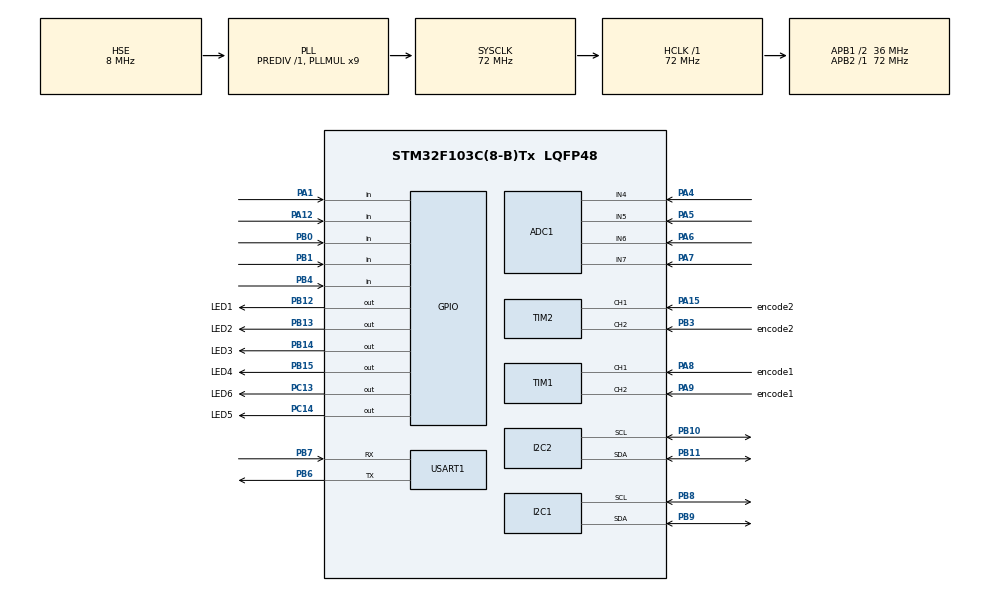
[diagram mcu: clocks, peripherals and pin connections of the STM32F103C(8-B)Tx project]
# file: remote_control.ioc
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ADC1.Channel-4\#ChannelRegularConversion=ADC_CHANNEL_7
ADC1.Channel-5\#ChannelRegularConversion=ADC_CHANNEL_6
ADC1.Channel-6\#ChannelRegularConversion=ADC_CHANNEL_5
ADC1.Channel-7\#ChannelRegularConversion=ADC_CHANNEL_4
ADC1.NbrOfConversion=4
ADC1.NbrOfConversionFlag=1
ADC1.Rank-4\#ChannelRegularConversion=1
ADC1.Rank-5\#ChannelRegularConversion=2
ADC1.Rank-6\#ChannelRegularConversion=3
ADC1.Rank-7\#ChannelRegularConversion=4
ADC1.SamplingTime-4\#ChannelRegularConversion=ADC_SAMPLETIME_1CYCLE_5
ADC1.SamplingTime-5\#ChannelRegularConversion=ADC_SAMPLETIME_1CYCLE_5
ADC1.SamplingTime-6\#ChannelRegularConversion=ADC_SAMPLETIME_1CYCLE_5
ADC1.SamplingTime-7\#ChannelRegularConversion=ADC_SAMPLETIME_1CYCLE_5
ADC1.master=1
Dma.ADC1.0.Direction=DMA_PERIPH_TO_MEMORY
Dma.ADC1.0.Instance=DMA1_Channel1
Dma.ADC1.0.MemDataAlignment=DMA_MDATAALIGN_HALFWORD
Dma.ADC1.0.MemInc=DMA_MINC_ENABLE
Dma.ADC1.0.Mode=DMA_NORMAL
Dma.ADC1.0.PeriphDataAlignment=DMA_PDATAALIGN_HALFWORD
Dma.ADC1.0.PeriphInc=DMA_PINC_DISABLE
Dma.ADC1.0.Priority=DMA_PRIORITY_LOW
Dma.Request0=ADC1
Mcu.Family=STM32F1
Mcu.Name=STM32F103C(8-B)Tx
Mcu.Package=LQFP48
NVIC.DMA1_Channel1_IRQn=true\:0\:0\:false\:false\:true\:false\:true\:true
NVIC.PriorityGroup=NVIC_PRIORITYGROUP_4
NVIC.TIM4_IRQn=true\:0\:0\:false\:false\:true\:true\:true\:true
NVIC.USART1_IRQn=true\:0\:0\:false\:false\:true\:true\:true\:true
PA1.GPIO_Mode=GPIO_MODE_INPUT
PA1.GPIO_PuPd=GPIO_PULLDOWN
PA1.Signal=GPIO_Input
PA12.GPIO_Mode=GPIO_MODE_INPUT
PA12.GPIO_PuPd=GPIO_PULLUP
PA12.Signal=GPIO_Input
PA13.Mode=Serial_Wire
PA13.Signal=SYS_JTMS-SWDIO
PA14.Mode=Serial_Wire
PA14.Signal=SYS_JTCK-SWCLK
PA15.GPIO_Label=encode2
PA15.Signal=S_TIM2_CH1_ETR
PA4.Signal=ADCx_IN4
PA5.Signal=ADCx_IN5
PA6.Signal=ADCx_IN6
PA7.Signal=ADCx_IN7
PA8.GPIO_Label=encode1
PA8.Signal=S_TIM1_CH1
PA9.GPIO_Label=encode1
PA9.Signal=S_TIM1_CH2
PB0.GPIO_PuPd=GPIO_PULLDOWN
PB0.Signal=GPIO_Input
PB1.GPIO_Mode=GPIO_MODE_INPUT
PB1.GPIO_PuPd=GPIO_PULLDOWN
PB1.Signal=GPIO_Input
PB10.Mode=I2C
PB10.Signal=I2C2_SCL
PB11.Mode=I2C
PB11.Signal=I2C2_SDA
PB12.GPIO_Label=LED1
PB12.GPIO_ModeDefaultOutputPP=GPIO_MODE_OUTPUT_PP
PB12.GPIO_PuPd=GPIO_NOPULL
PB12.GPIO_Speed=GPIO_SPEED_FREQ_LOW
PB12.PinState=GPIO_PIN_RESET
PB12.Signal=GPIO_Output
PB13.GPIO_Label=LED2
PB13.GPIO_ModeDefaultOutputPP=GPIO_MODE_OUTPUT_PP
PB13.GPIO_PuPd=GPIO_NOPULL
PB13.GPIO_Speed=GPIO_SPEED_FREQ_LOW
PB13.PinState=GPIO_PIN_RESET
PB13.Signal=GPIO_Output
PB14.GPIO_Label=LED3
PB14.GPIO_ModeDefaultOutputPP=GPIO_MODE_OUTPUT_PP
PB14.GPIO_PuPd=GPIO_NOPULL
PB14.GPIO_Speed=GPIO_SPEED_FREQ_LOW
PB14.PinState=GPIO_PIN_RESET
PB14.Signal=GPIO_Output
PB15.GPIO_Label=LED4
PB15.GPIO_ModeDefaultOutputPP=GPIO_MODE_OUTPUT_PP
PB15.GPIO_PuPd=GPIO_NOPULL
PB15.GPIO_Speed=GPIO_SPEED_FREQ_LOW
PB15.PinState=GPIO_PIN_RESET
PB15.Signal=GPIO_Output
PB3.GPIO_Label=encode2
PB3.Signal=S_TIM2_CH2
PB4.GPIO_Mode=GPIO_MODE_INPUT
PB4.GPIO_PuPd=GPIO_PULLUP
PB4.Signal=GPIO_Input
PB6.Mode=Asynchronous
PB6.Signal=USART1_TX
PB7.Mode=Asynchronous
PB7.Signal=USART1_RX
PB8.Mode=I2C
PB8.Signal=I2C1_SCL
PB9.Mode=I2C
PB9.Signal=I2C1_SDA
PC13-TAMPER-RTC.GPIO_Label=LED6
PC13-TAMPER-RTC.GPIO_PuPd=GPIO_NOPULL
PC13-TAMPER-RTC.PinState=GPIO_PIN_RESET
PC13-TAMPER-RTC.Signal=GPIO_Output
PC14-OSC32_IN.GPIO_Label=LED5
PC14-OSC32_IN.GPIO_PuPd=GPIO_NOPULL
PC14-OSC32_IN.PinState=GPIO_PIN_SET
PC14-OSC32_IN.Signal=GPIO_Output
PD0-OSC_IN.Mode=HSE-External-Oscillator
PD0-OSC_IN.Signal=RCC_OSC_IN
PD1-OSC_OUT.Mode=HSE-External-Oscillator
PD1-OSC_OUT.Signal=RCC_OSC_OUT
ProjectManager.HeapSize=0x400
ProjectManager.StackSize=0x400
ProjectManager.TargetToolchain=CMake
RCC.ADCPresc=RCC_ADCPCLK2_DIV6
RCC.AHBFreq_Value=72000000
RCC.APB1CLKDivider=RCC_HCLK_DIV2
RCC.APB1Freq_Value=36000000
RCC.APB1TimFreq_Value=72000000
RCC.APB2Freq_Value=72000000
RCC.APB2TimFreq_Value=72000000
RCC.HCLKFreq_Value=72000000
RCC.PLLMUL=RCC_PLL_MUL9
RCC.PLLSourceVirtual=RCC_PLLSOURCE_HSE
RCC.SYSCLKFreq_VALUE=72000000
RCC.SYSCLKSource=RCC_SYSCLKSOURCE_PLLCLK
RCC.USBFreq_Value=72000000
SH.ADCx_IN4.0=ADC1_IN4,IN4
SH.ADCx_IN5.0=ADC1_IN5,IN5
SH.ADCx_IN6.0=ADC1_IN6,IN6
SH.ADCx_IN7.0=ADC1_IN7,IN7
SH.S_TIM1_CH1.0=TIM1_CH1,Encoder_Interface
SH.S_TIM1_CH2.0=TIM1_CH2,Encoder_Interface
SH.S_TIM2_CH1_ETR.0=TIM2_CH1,Encoder_Interface
SH.S_TIM2_CH2.0=TIM2_CH2,Encoder_Interface
TIM1.EncoderMode=TIM_ENCODERMODE_TI12
TIM1.IC1Filter=15
TIM1.IC2Filter=15
TIM2.EncoderMode=TIM_ENCODERMODE_TI12
TIM2.IC1Filter=15
TIM2.IC2Filter=15
TIM4.Period=10000-1
TIM4.Prescaler=72-1
USART1.VirtualMode=VM_ASYNC
VP_TIM4_VS_ClockSourceINT.Mode=Internal
board=custom

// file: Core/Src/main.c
/* USER CODE BEGIN Header */
/**
  ******************************************************************************
  * @file           : main.c
  * @brief          : Main program body
  ******************************************************************************
  * @attention
  *
  * Copyright (c) 2025 STMicroelectronics.
  * All rights reserved.
  *
  * This software is licensed under terms that can be found in the LICENSE file
  * in the root directory of this software component.
  * If no LICENSE file comes with this software, it is provided AS-IS.
  *
  ******************************************************************************
  */
/* USER CODE END Header */
#include "main.h"
#include "adc.h"
#include "dma.h"
#include "i2c.h"
#include "tim.h"
#include "usart.h"
#include "gpio.h"

/* USER CODE BEGIN Includes */
#include <string.h>
#include <key.h>
#include "pack.h"
#include "oled.h"
extern void myinit();
extern void myloop();
// uint16_t usart_RX[1];
// char usart_TX[20]="123"; // 初始化发送数据

#define RX_BUF_SIZE 256
uint8_t usart1_rx_buf[1]; // 临时接收 1 字节
uint8_t ring_buffer[RX_BUF_SIZE];
volatile uint16_t write_index = 0;

extern struct Bkeys bkeys[];
extern uint16_t armBuffer[2];
/* USER CODE END Includes */

void SystemClock_Config(void);

/* USER CODE BEGIN 0 */
void HAL_UART_RxCpltCallback(UART_HandleTypeDef *huart)
{
    if (huart==&huart1) {
        // HAL_UART_Transmit(&huart1, (uint8_t *)usart_RX, sizeof(usart_RX), 100); // 回显收到的数据
        // // memset(usart_RX, 0, sizeof(usart_RX)); // 清空数组，避免残留
        //
        // HAL_UART_Receive_IT(&huart1,(uint8_t *)usart_RX,1);
        ring_buffer[write_index++] = usart1_rx_buf[0];
        if (write_index >= RX_BUF_SIZE) write_index = 0;
        HAL_UART_Receive_IT(&huart1, (uint8_t *)usart1_rx_buf, 1); // 继续接收
    }
}

void HAL_TIM_PeriodElapsedCallback(TIM_HandleTypeDef *htim)
{
    if(htim->Instance==TIM4)
        key_serv();
        //	key_serv_long();
            //	key_serv_long_2();
       // key_serv_double();
}
/* USER CODE END 0 */

int main(void)
{

  /* MCU Configuration--------------------------------------------------------*/

  /* Reset of all peripherals, Initializes the Flash interface and the Systick. */
  HAL_Init();

  /* Configure the system clock */
  SystemClock_Config();

  /* Initialize all configured peripherals */
  MX_GPIO_Init();
  MX_DMA_Init();
  MX_ADC1_Init();
  MX_TIM1_Init();
  MX_TIM2_Init();
  MX_USART1_UART_Init();
  MX_TIM4_Init();
  MX_I2C2_Init();
  MX_I2C1_Init();
  /* USER CODE BEGIN 2 */
    myinit();
    OLED_Init();
    // HAL_UART_Receive_IT(&huart1,(uint8_t *)usart_RX,1);
    HAL_UART_Receive_IT(&huart1, (uint8_t *)usart1_rx_buf, 1); // 开始接收
    HAL_TIM_Base_Start_IT(&htim4);
  /* USER CODE END 2 */

  /* Infinite loop */
  /* USER CODE BEGIN WHILE */
  while (1)
  {
      OLED_NewFrame();
      OLED_DrawImage(0, 0, &RB, OLED_COLOR_NORMAL);
      OLED_ShowFrame();
      // key =HAL_GPIO_ReadPin(GPIOA,GPIO_PIN_12);
      //send_packet(&huart1, &sendpacket);
      // HAL_UART_Transmit(&huart1, (uint8_t *)1, 1, HAL_MAX_DELAY);
      myloop();
      HAL_Delay(1); // 延时50毫秒，等待ADC转换完成
    /* USER CODE END WHILE */

  }
}

void SystemClock_Config(void)
{
  RCC_OscInitTypeDef RCC_OscInitStruct = {0};
  RCC_ClkInitTypeDef RCC_ClkInitStruct = {0};
  RCC_PeriphCLKInitTypeDef PeriphClkInit = {0};

  /** Initializes the RCC Oscillators according to the specified parameters
  * in the RCC_OscInitTypeDef structure.
  */
  RCC_OscInitStruct.OscillatorType = RCC_OSCILLATORTYPE_HSE;
  RCC_OscInitStruct.HSEState = RCC_HSE_ON;
  RCC_OscInitStruct.HSEPredivValue = RCC_HSE_PREDIV_DIV1;
  RCC_OscInitStruct.HSIState = RCC_HSI_ON;
  RCC_OscInitStruct.PLL.PLLState = RCC_PLL_ON;
  RCC_OscInitStruct.PLL.PLLSource = RCC_PLLSOURCE_HSE;
  RCC_OscInitStruct.PLL.PLLMUL = RCC_PLL_MUL9;
  if (HAL_RCC_OscConfig(&RCC_OscInitStruct) != HAL_OK)
  {
    Error_Handler();
  }

  /** Initializes the CPU, AHB and APB buses clocks
  */
  RCC_ClkInitStruct.ClockType = RCC_CLOCKTYPE_HCLK|RCC_CLOCKTYPE_SYSCLK
                              |RCC_CLOCKTYPE_PCLK1|RCC_CLOCKTYPE_PCLK2;
  RCC_ClkInitStruct.SYSCLKSource = RCC_SYSCLKSOURCE_PLLCLK;
  RCC_ClkInitStruct.AHBCLKDivider = RCC_SYSCLK_DIV1;
  RCC_ClkInitStruct.APB1CLKDivider = RCC_HCLK_DIV2;
  RCC_ClkInitStruct.APB2CLKDivider = RCC_HCLK_DIV1;

  if (HAL_RCC_ClockConfig(&RCC_ClkInitStruct, FLASH_LATENCY_2) != HAL_OK)
  {
    Error_Handler();
  }
  PeriphClkInit.PeriphClockSelection = RCC_PERIPHCLK_ADC;
  PeriphClkInit.AdcClockSelection = RCC_ADCPCLK2_DIV6;
  if (HAL_RCCEx_PeriphCLKConfig(&PeriphClkInit) != HAL_OK)
  {
    Error_Handler();
  }
}

void Error_Handler(void)
{
  __disable_irq();
  while (1)
  {
  }
}
